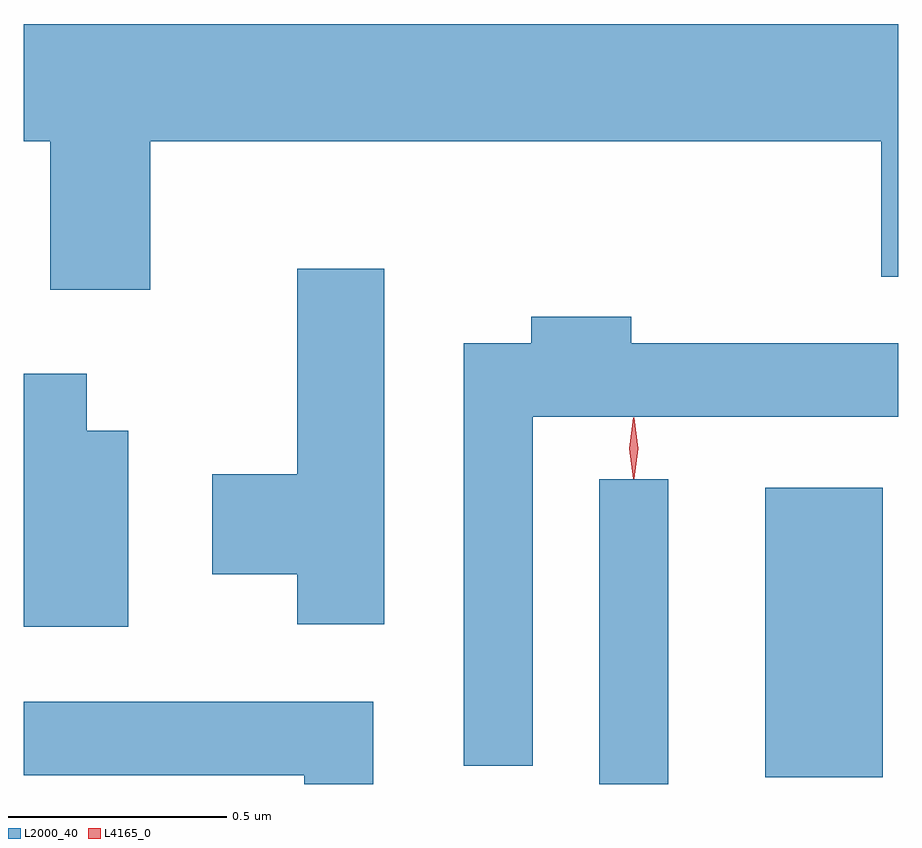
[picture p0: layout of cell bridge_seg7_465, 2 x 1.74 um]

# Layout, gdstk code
import gdstk
lib = gdstk.Library(unit=1e-6, precision=1e-09)
def R(c, l, rs):  # rectangles x0, y0, x1, y1
    for r in rs: c.add(gdstk.rectangle(r[:2], r[2:], *l))
def P(c, l, *ps):  # polygons
    for p in ps: c.add(gdstk.Polygon(p, *l))
L2000_40 = (2000, 40)
L4165_0 = (4165, 0)

bridge_seg7_465 = lib.new_cell('bridge_seg7_465')
R(bridge_seg7_465, L2000_40, [(1169.846,1701.746,1170.004,1702.443), (1170.226,1701.761,1170.494,1702.424)])
P(bridge_seg7_465, L2000_40, [(1168.819,1703.216),(1170.491,1703.216),(1170.491,1702.906),(1170.53,1702.906),(1170.53,1703.484),(1168.53,1703.484),(1168.53,1703.216),(1168.591,1703.216),(1168.591,1702.876),(1168.819,1702.876)],
  [(1169.354,1702.924),(1169.156,1702.924),(1169.156,1702.454),(1168.961,1702.454),(1168.961,1702.226),(1169.156,1702.226),(1169.156,1702.111),(1169.354,1702.111)],
  [(1169.694,1702.586),(1170.53,1702.586),(1170.53,1702.754),(1169.919,1702.754),(1169.919,1702.814),(1169.691,1702.814),(1169.691,1702.754),(1169.536,1702.754),(1169.536,1701.788),(1169.694,1701.788)],
  [(1168.769,1702.554),(1168.674,1702.554),(1168.674,1702.684),(1168.53,1702.684),(1168.53,1702.106),(1168.769,1702.106)],
  [(1169.329,1701.934),(1168.53,1701.934),(1168.53,1701.766),(1169.171,1701.766),(1169.171,1701.746),(1169.329,1701.746)])
P(bridge_seg7_465, L4165_0, [(1169.924,1702.444),(1169.915,1702.513),(1169.924,1702.583),(1169.925,1702.583),(1169.926,1702.583),(1169.935,1702.513),(1169.926,1702.444),(1169.925,1702.444)],
  [(1169.924,1702.447),(1169.915,1702.514),(1169.924,1702.58),(1169.925,1702.581),(1169.926,1702.58),(1169.935,1702.514),(1169.926,1702.447),(1169.925,1702.447)])

lib.write_gds('bridge_seg7_465.gds')
